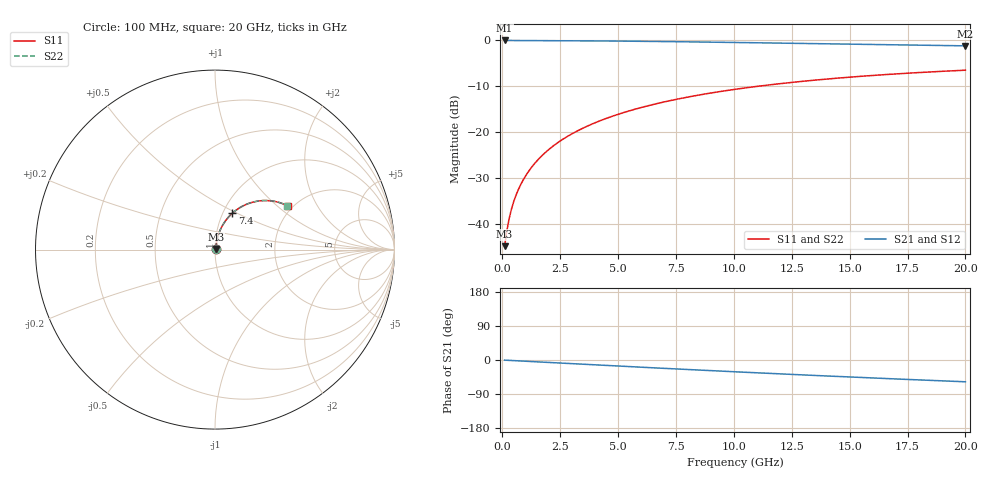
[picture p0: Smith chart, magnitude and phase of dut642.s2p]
! Touchstone file exported from HFSS 2026.1.0
!  File:  C:/ffzhzh/LocalFiles/Ansys_Project_Files/temp_train_BSMRDL_642_1783016797_46388.aedt
!  Generated:  02:28:15 AM Jul  3, 2026
!  Design:  BSMRDL
!  Project:  temp_train_BSMRDL_642_1783016797_46388
! Variables:
!  h_bsmrdl = 2.69um
!  h_ox = 20um
!  h_rdl = 5um
!  h_sub = 80um
!  h_tmrdl = 5um
!  h_tsv = 80um
!  h_via = 3um
!  l_bsmrdl = 881.79um
!  l_sub = 1281.79um
!  l_tmrdl = 200um
!  m_sub = 200um
!  pitch = 57.7um
!  r_tsv = 6um
!  s_tmrdl = 10um
!  w_bsmrdl = 27.81um
!  w_sub = 500um
!  w_tmrdl = 12um
!  x_tsv_center1 = 206um
!  x_tsv_center2 = 1115.6um
!  x_tsv_center3 = 1327.6um
!  x_tsv_center4 = 2237.2um
!  x_tsv_center5 = 2449.2um
!  x_tsv_center6 = 3358.8um
# GHz S MA R 50.000000
! Terminal data exported
! Port[1] = BSM_RDL1_1_T1
! Port[2] = BSM_RDL1_1_T2
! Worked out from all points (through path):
!   200 points, 100 MHz to 20 GHz, reference 50 ohm
!   highest |S21| = -0.04 dB at 100 MHz (marker M1); lowest = -1.2 dB at 20 GHz (marker M2)
!   group delay of S21, straight-line fit = 8 ps
!   lowest |S11| = -44.9 dB at 100 MHz (marker M3), VSWR 1.01, Z = 50.4 + j0.359 ohm
!   |S11| at or under -10 dB: start of sweep to 11.07 GHz
!   |S22| runs from -44.9 to -6.5 dB; largest |S21 - S12| = 3.4e-15
!   S11 on the Smith chart (normalised r, x): 100 MHz: 1.01, +0.01; 7.4 GHz: 1.11, +0.47; 20 GHz: 1.88, +1.18
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0.1  0.005711 38.6  0.9956 -0.3  0.9956 -0.3  0.005711 38.6
! Gamma 0 0 0 0
! Port Impedance 50 0 50 0
0.2  0.00847 55.9  0.9953 -0.7  0.9953 -0.7  0.00847 55.9
0.3  0.01152 63.7  0.995 -1.0  0.995 -1.0  0.01152 63.7
0.4  0.0146 67.9  0.9947 -1.3  0.9947 -1.3  0.0146 67.9
0.5  0.01768 70.7  0.9945 -1.7  0.9945 -1.7  0.01768 70.7
0.6  0.02075 72.6  0.9943 -2.0  0.9943 -2.0  0.02075 72.6
0.8  0.0269 75.1  0.9939 -2.6  0.9939 -2.6  0.0269 75.1
1.1  0.03619 77.0  0.9934 -3.6  0.9934 -3.6  0.03619 77.0
1.3  0.04242 77.6  0.9931 -4.2  0.9931 -4.2  0.04242 77.7
1.6  0.0518 78.1  0.9926 -5.2  0.9926 -5.2  0.0518 78.1
2.1  0.06744 77.9  0.9915 -6.8  0.9915 -6.8  0.06744 77.9
2.7  0.08614 77.0  0.9899 -8.7  0.9899 -8.7  0.08614 77.0
3.5  0.1108 75.3  0.9871 -11.2  0.9871 -11.2  0.1108 75.3
4.2  0.1321 73.5  0.9842 -13.4  0.9842 -13.4  0.1321 73.6
5  0.156 71.4  0.9804 -15.9  0.9804 -15.9  0.156 71.4
6.8  0.2077 66.3  0.97 -21.5  0.97 -21.5  0.2077 66.3
7.4  0.2242 64.5  0.9661 -23.3  0.9661 -23.3  0.2242 64.6
8.7  0.2586 60.8  0.9569 -27.2  0.9569 -27.2  0.2586 60.9
10.1  0.2934 56.8  0.9463 -31.3  0.9463 -31.3  0.2934 56.9
13.4  0.366 47.8  0.9198 -40.5  0.9198 -40.5  0.366 47.9
16.7  0.4253 39.2  0.8935 -49.2  0.8935 -49.2  0.4253 39.3
20  0.472 31.1  0.8697 -57.5  0.8697 -57.5  0.472 31.2
